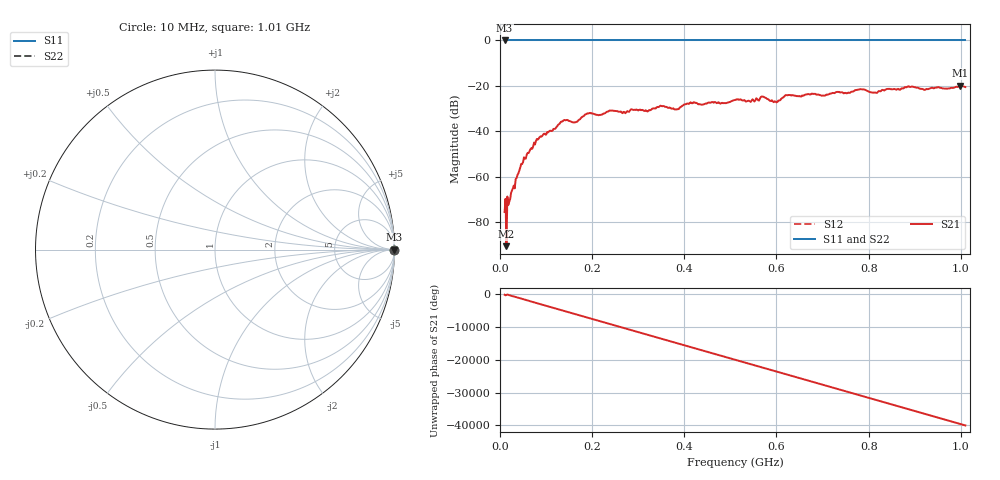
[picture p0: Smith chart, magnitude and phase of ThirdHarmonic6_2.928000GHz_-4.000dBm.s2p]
! 8/17/2025 8:10:03 AM
! C:\ANRITSUVNA\TEMP\TEMP.S2P
! CHANNEL.1
! TR.MEASUREMENT
! RAW.DATA
! RF.CORRECTION.OFF
! AVERAGING.OFF
! IF.BANDWIDTH: 5KHZ
! SWEEPTYPE:  FREQ.SWEEP(Linear)
! Reference Plane Port Info
! PORT:  PORT1  PORT2
! DISTANCE:  0  m  0  m
! TIME:  0  s  0  s
! PHASE.OFFSET:  0  deg.  0  deg.
! LOSS:  0  dB  0  dB
! REF.LOSS:  0  dB  0  dB
! REF.FREQ:  0  Hz  0  Hz
! Power Info
! POWER:  -20  dBm  -20  dBm
! EFF.POWER:  -20  dBm  -20  dBm
! SOURCE.ATTEN:  0  dB  0  dB
! TEST.ATTEN:  0  dB  0  dB
# GHZ S RI R 50.0
! FREQ.GHZ  S11RE  S11IM  S21RE  S21IM  S12RE  S12IM  S22RE  S22IM
!; PortSelection: Port_12
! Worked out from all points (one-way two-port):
!   501 points, 10 MHz to 1.01 GHz, reference 50 ohm
!   highest |S21| = -19.86 dB at 998 MHz (marker M1); lowest = -90.7 dB at 14 MHz (marker M2)
!   lowest |S11| = 0.0 dB at 10 MHz (marker M3)
!   |S11| at or under -10 dB: nowhere
!   |S22| runs from 0.0 to 0.0 dB; largest |S21 - S12| = 1.1
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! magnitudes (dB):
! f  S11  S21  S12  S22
! 10 MHz  0.0  -75.6  0.0  0.0
! 14 MHz  0.0  -90.7  0.0  0.0
! 18 MHz  0.0  -72.5  0.0  0.0
! 20 MHz  0.0  -71.1  0.0  0.0
! 48 MHz  0.0  -54.5  0.0  0.0
! 82 MHz  0.0  -43.7  0.0  0.0
! 136 MHz  0.0  -35.6  0.0  0.0
! 164 MHz  0.0  -36.0  0.0  0.0
! 178 MHz  0.0  -33.8  0.0  0.0
! 192 MHz  0.0  -32.2  0.0  0.0
! 318 MHz  0.0  -31.1  0.0  0.0
! 344 MHz  0.0  -29.4  0.0  0.0
! 384 MHz  0.0  -30.3  0.0  0.0
! 416 MHz  0.0  -27.7  0.0  0.0
! 510 MHz  0.0  -26.2  0.0  0.0
! 570 MHz  0.0  -24.7  0.0  0.0
! 598 MHz  0.0  -26.9  0.0  0.0
! 622 MHz  0.0  -24.1  0.0  0.0
! 678 MHz  0.0  -23.5  0.0  0.0
! 844 MHz  0.0  -21.3  0.0  0.0
! 998 MHz  0.0  -19.9  0.0  0.0
! 1.01 GHz  0.0  -20.5  0.0  0.0
